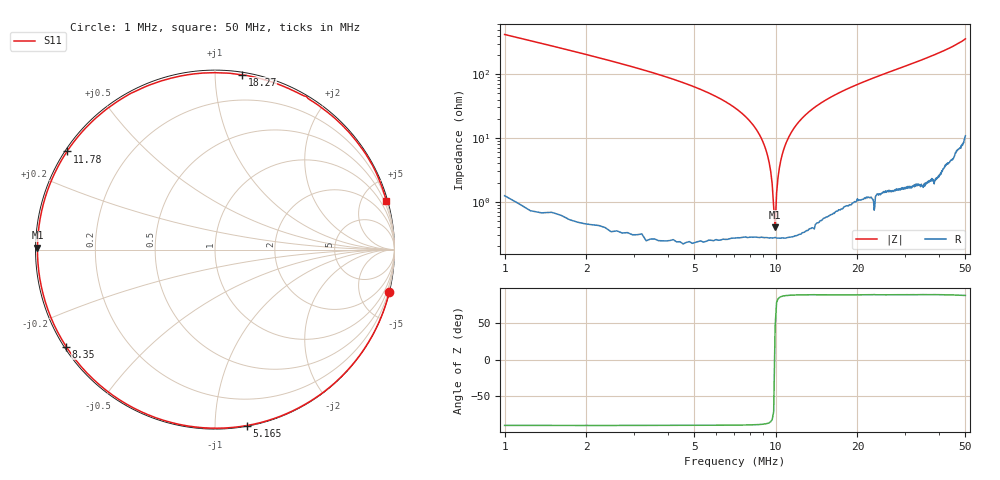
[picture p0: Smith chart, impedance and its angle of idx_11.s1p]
# HZ S RI R 50
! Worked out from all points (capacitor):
!   401 points, 1 MHz to 50 MHz, reference 50 ohm
!   read as one part to ground: C = 376 pF near 1.245 MHz
!   lowest |Z| = 397 mohm at 9.943 MHz (marker M1)
!   series resonance near 9.91 MHz, so ESL is about 690 nH
!   S11 on the Smith chart (normalised r, x): 1 MHz: 0.02, -8.36; 5.165 MHz: 0.00, -1.20; 8.35 MHz: 0.01, -0.30; 11.78 MHz: 0.01, +0.30; 18.27 MHz: 0.02, +1.16; 50 MHz: 0.22, +7.14
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1000000  0.9711 -0.2357
1980000  0.8869 -0.4598
3082500  0.7193 -0.6923
4185000  0.4683 -0.8805
5165000  0.1775 -0.9802
6145000  -0.1575 -0.9817
6635000  -0.3294 -0.937
7125000  -0.4948 -0.8597
7737500  -0.6801 -0.7201
8350000  -0.8292 -0.5405
9085000  -0.9455 -0.2911
9942500  -0.9889 0.0113
1.08e7  -0.9465 0.2887
1.178e7  -0.8245 0.5466
1.2515e7  -0.7047 0.6937
1.325e7  -0.5757 0.8033
1.423e7  -0.4043 0.9003
1.5455e7  -0.207 0.9641
1.68025e7  -0.0195 0.9854
1.82725e7  0.1494 0.974
1.9375e7  0.2542 0.9524
2.21925e7  0.457 0.8756
2.55e7  0.6147 0.7753
2.83175e7  0.7058 0.6958
3.1625e7  0.7821 0.6118
3.775e7  0.8712 0.4796
4.3875e7  0.9221 0.3706
5e7  0.9537 0.2722
